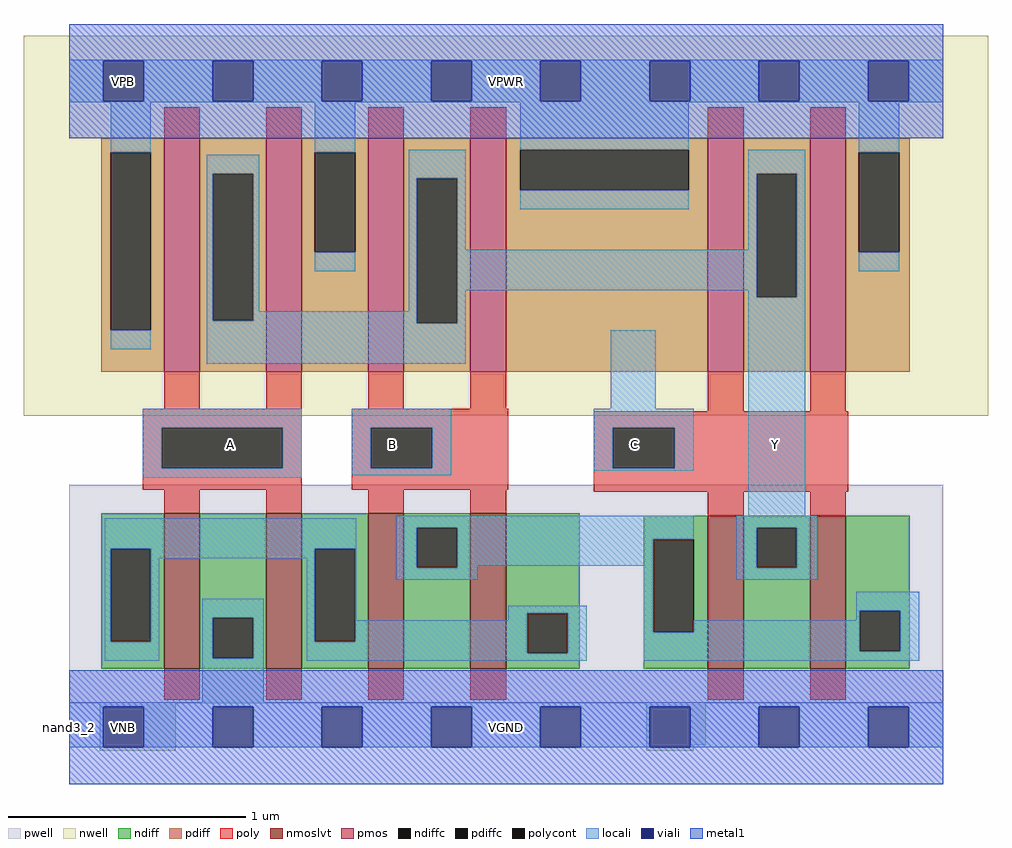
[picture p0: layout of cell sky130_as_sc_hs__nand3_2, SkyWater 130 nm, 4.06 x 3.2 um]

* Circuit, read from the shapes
.subckt sky130_as_sc_hs__nand3_2 VNB VPWR VGND VPB A B C Y
XM1 VGND A n1 VNB sky130_fd_pr__nfet_01v8_lvt w=0.655 l=0.15 m=2
XM2 n2 B n1 VNB sky130_fd_pr__nfet_01v8_lvt w=0.655 l=0.15 m=2
XM3 Y C n2 VNB sky130_fd_pr__nfet_01v8_lvt w=0.645 l=0.15 m=2
XM4 Y A VPWR VPB sky130_fd_pr__pfet_01v8 w=0.985 l=0.15 m=2
XM5 Y B VPWR VPB sky130_fd_pr__pfet_01v8 w=0.985 l=0.15 m=2
XM6 Y C VPWR VPB sky130_fd_pr__pfet_01v8 w=0.985 l=0.15 m=2
.ends

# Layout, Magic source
magic
tech sky130A
magscale 1 2
<< nwell >>
rect -38 262 774 582
<< pwell >>
rect 0 20 736 204
rect 26 -20 90 20
rect 486 -15 536 20
rect 486 -20 526 -15
<< pmos >>
rect 80 299 110 496
rect 166 299 196 496
rect 252 299 282 496
rect 338 299 368 496
rect 538 299 568 496
rect 624 299 654 496
<< nmoslvt >>
rect 80 49 110 180
rect 166 49 196 180
rect 252 49 282 180
rect 338 49 368 180
rect 538 49 568 178
rect 624 49 654 178
<< ndiff >>
rect 27 150 80 180
rect 27 72 35 150
rect 69 72 80 150
rect 27 49 80 72
rect 110 92 166 180
rect 110 58 121 92
rect 155 58 166 92
rect 110 49 166 58
rect 196 150 252 180
rect 196 72 207 150
rect 241 72 252 150
rect 196 49 252 72
rect 282 168 338 180
rect 282 134 293 168
rect 327 134 338 168
rect 282 49 338 134
rect 368 96 430 180
rect 368 62 386 96
rect 420 62 430 96
rect 368 49 430 62
rect 484 158 538 178
rect 484 80 492 158
rect 526 80 538 158
rect 484 49 538 80
rect 568 168 624 178
rect 568 134 579 168
rect 613 134 624 168
rect 568 49 624 134
rect 654 98 708 178
rect 654 64 666 98
rect 700 64 708 98
rect 654 49 708 64
<< pdiff >>
rect 27 484 80 496
rect 27 334 35 484
rect 69 334 80 484
rect 27 299 80 334
rect 110 466 166 496
rect 110 342 121 466
rect 155 342 166 466
rect 110 299 166 342
rect 196 484 252 496
rect 196 400 207 484
rect 241 400 252 484
rect 196 299 252 400
rect 282 462 338 496
rect 282 340 293 462
rect 327 340 338 462
rect 282 299 338 340
rect 368 486 538 496
rect 368 452 380 486
rect 522 452 538 486
rect 368 299 538 452
rect 568 466 624 496
rect 568 362 579 466
rect 613 362 624 466
rect 568 299 624 362
rect 654 484 708 496
rect 654 400 665 484
rect 699 400 708 484
rect 654 299 708 400
<< ndiffc >>
rect 35 72 69 150
rect 121 58 155 92
rect 207 72 241 150
rect 293 134 327 168
rect 386 62 420 96
rect 492 80 526 158
rect 579 134 613 168
rect 666 64 700 98
<< pdiffc >>
rect 35 334 69 484
rect 121 342 155 466
rect 207 400 241 484
rect 293 340 327 462
rect 380 452 522 486
rect 579 362 613 466
rect 665 400 699 484
<< poly >>
rect 80 496 110 522
rect 166 496 196 522
rect 252 496 282 522
rect 338 496 368 522
rect 538 496 568 522
rect 624 496 654 522
rect 80 268 110 299
rect 166 268 196 299
rect 252 268 282 299
rect 338 268 368 299
rect 62 252 196 268
rect 62 218 78 252
rect 180 218 196 252
rect 62 200 196 218
rect 238 252 370 268
rect 538 266 568 299
rect 624 266 654 299
rect 238 218 254 252
rect 306 218 370 252
rect 238 200 370 218
rect 442 252 656 266
rect 442 218 458 252
rect 510 218 656 252
rect 80 180 110 200
rect 166 180 196 200
rect 252 180 282 200
rect 338 180 368 200
rect 442 198 656 218
rect 538 178 568 198
rect 624 178 654 198
rect 80 23 110 49
rect 166 23 196 49
rect 252 23 282 49
rect 338 23 368 49
rect 538 23 568 49
rect 624 23 654 49
<< polycont >>
rect 78 218 180 252
rect 254 218 306 252
rect 458 218 510 252
<< locali >>
rect 0 561 736 562
rect 0 527 29 561
rect 63 527 121 561
rect 155 527 213 561
rect 247 527 305 561
rect 339 527 397 561
rect 431 527 489 561
rect 523 527 581 561
rect 615 527 673 561
rect 707 527 736 561
rect 0 526 736 527
rect 35 484 69 526
rect 207 484 241 526
rect 380 486 522 526
rect 35 318 69 334
rect 116 466 160 482
rect 116 342 121 466
rect 155 350 160 466
rect 207 384 241 400
rect 286 462 334 486
rect 286 350 293 462
rect 155 342 293 350
rect 116 340 293 342
rect 327 402 334 462
rect 380 436 522 452
rect 572 466 620 486
rect 572 402 579 466
rect 327 368 579 402
rect 327 340 334 368
rect 116 306 334 340
rect 572 362 579 368
rect 613 362 620 466
rect 665 484 699 526
rect 665 384 699 400
rect 456 268 494 334
rect 62 252 196 268
rect 62 218 78 252
rect 180 218 196 252
rect 62 210 196 218
rect 238 252 322 268
rect 238 218 254 252
rect 306 218 322 252
rect 238 212 322 218
rect 442 252 526 268
rect 442 218 458 252
rect 510 218 526 252
rect 442 216 526 218
rect 572 178 620 362
rect 30 150 242 176
rect 30 72 35 150
rect 69 142 207 150
rect 69 72 76 142
rect 30 56 76 72
rect 112 92 164 108
rect 112 58 121 92
rect 155 58 164 92
rect 112 21 164 58
rect 200 72 207 142
rect 241 90 242 150
rect 276 168 526 178
rect 276 134 293 168
rect 327 158 526 168
rect 327 136 492 158
rect 327 134 344 136
rect 276 124 344 134
rect 370 96 436 102
rect 370 90 386 96
rect 241 72 386 90
rect 200 62 386 72
rect 420 62 436 96
rect 200 56 436 62
rect 484 80 492 136
rect 562 168 630 178
rect 562 134 579 168
rect 613 134 630 168
rect 562 124 630 134
rect 663 98 716 114
rect 663 90 666 98
rect 526 80 666 90
rect 484 64 666 80
rect 700 64 716 98
rect 484 56 716 64
rect 0 17 736 21
rect 0 -17 29 17
rect 63 -17 121 17
rect 155 -17 213 17
rect 247 -17 305 17
rect 339 -17 397 17
rect 431 -17 489 17
rect 523 -17 581 17
rect 615 -17 673 17
rect 707 -17 736 17
<< viali >>
rect 29 527 63 561
rect 121 527 155 561
rect 213 527 247 561
rect 305 527 339 561
rect 397 527 431 561
rect 489 527 523 561
rect 581 527 615 561
rect 673 527 707 561
rect 29 -17 63 17
rect 121 -17 155 17
rect 213 -17 247 17
rect 305 -17 339 17
rect 397 -17 431 17
rect 489 -17 523 17
rect 581 -17 615 17
rect 673 -17 707 17
<< metal1 >>
rect 0 561 736 592
rect 0 527 29 561
rect 63 527 121 561
rect 155 527 213 561
rect 247 527 305 561
rect 339 527 397 561
rect 431 527 489 561
rect 523 527 581 561
rect 615 527 673 561
rect 707 527 736 561
rect 0 496 736 527
rect 0 17 736 48
rect 0 -17 29 17
rect 63 -17 121 17
rect 155 -17 213 17
rect 247 -17 305 17
rect 339 -17 397 17
rect 431 -17 489 17
rect 523 -17 581 17
rect 615 -17 673 17
rect 707 -17 736 17
rect 0 -48 736 -17
<< labels >>
rlabel comment s 0 0 0 0 4 nand3_2
flabel pwell s 29 -17 63 17 0 FreeSans 200 0 0 0 VNB
port 1 nsew ground bidirectional
flabel pwell s 46 0 46 0 0 FreeSans 200 0 0 0 VNB
flabel nwell s 29 527 63 561 0 FreeSans 200 0 0 0 VPB
port 4 nsew power bidirectional
flabel nwell s 46 544 46 544 0 FreeSans 200 0 0 0 VPB
flabel metal1 s 29 527 63 561 0 FreeSans 200 0 0 0 VPWR
port 2 nsew power bidirectional abutment
flabel metal1 s 29 -17 63 17 0 FreeSans 200 0 0 0 VGND
port 3 nsew ground bidirectional abutment
rlabel metal1 s 0 -48 736 48 1 VGND
port 3 nsew ground bidirectional abutment
rlabel metal1 s 0 496 736 592 1 VPWR
port 2 nsew power bidirectional abutment
flabel locali 119 221 153 255 0 FreeSans 200 0 0 0 A
port 5 nsew signal input
flabel locali 136 238 136 238 0 FreeSans 200 0 0 0 A
flabel locali 255 221 289 255 0 FreeSans 200 0 0 0 B
port 6 nsew signal input
flabel locali 272 238 272 238 0 FreeSans 200 0 0 0 B
flabel locali 459 221 493 255 0 FreeSans 200 0 0 0 C
port 7 nsew signal input
flabel locali 476 238 476 238 0 FreeSans 200 0 0 0 C
flabel locali 578 221 612 255 0 FreeSans 200 0 0 0 Y
port 8 nsew signal output
flabel locali 595 238 595 238 0 FreeSans 200 0 0 0 Y
<< properties >>
string FIXED_BBOX 0 0 736 544
string GDS_FILE $PDKPATH/libs.ref/sky130_as_sc_hs/gds/sky130_as_sc_hs__nand3_2.gds
string LEFclass CORE
string LEFsite unithd
string LEFsymmetry X Y R90
string MASKHINTS_LVTN 0 -4 736 216
string MASKHINTS_NSDM 0 -38 736 205
string MASKHINTS_PSDM 0 274 736 582
<< end >>
